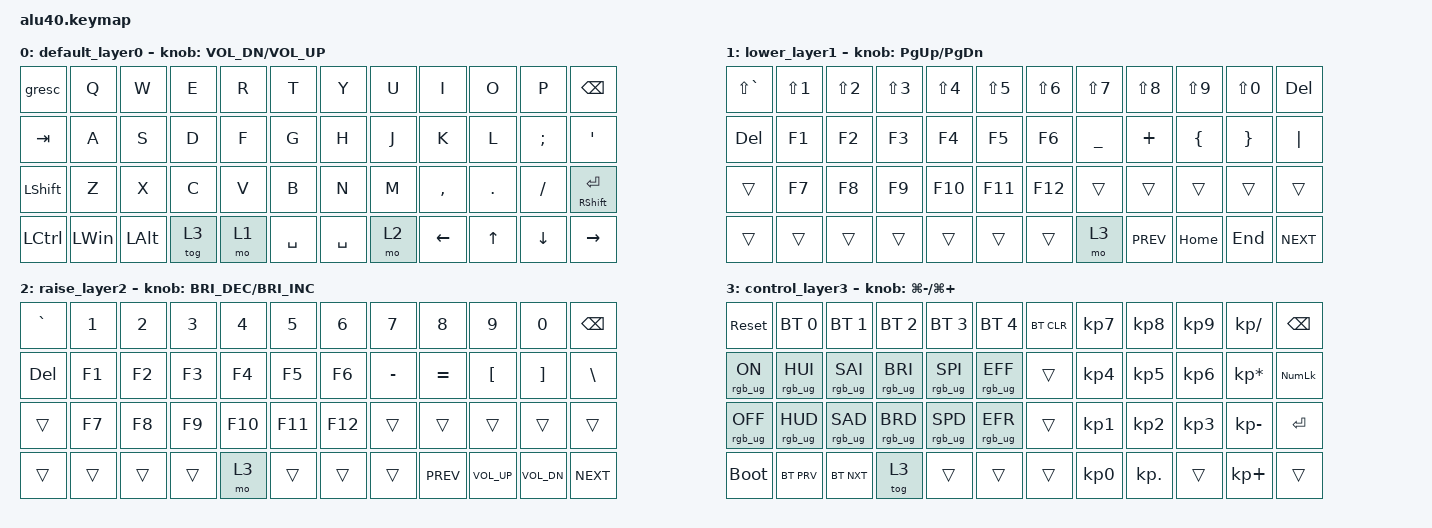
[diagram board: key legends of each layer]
/*
 * Copyright (c) 2022 The ZMK Contributors
 *
 * SPDX-License-Identifier: MIT
 */

#include <behaviors.dtsi>
#include <dt-bindings/zmk/bt.h>
#include <dt-bindings/zmk/keys.h>
#include <dt-bindings/zmk/rgb.h>

/ {
    keymap {
        compatible = "zmk,keymap";

        default_layer0 {
            // -----------------------------------------------------------------------------------------
            // | ESC/~ |  Q   |  W   |  E   |  R   |  T   |   Y   |  U    |  I   |  O   |   P   | BSPC  |
            // | TAB   |  A   |  S   |  D   |  F   |  G   |   H   |  J    |  K   |  L   |   ;   |  '    |
            // | SHIFT |  Z   |  X   |  C   |  V   |  B   |   N   |  M    |  ,   |  .   |   /   |RET/SFT|
            // | PLAY  | LCTL | LALT | LGUI | LOWR |     SPACE    |  RAIS | LARW | UARW | DARW  |  RARW |

            bindings = <
&gresc     &kp Q         &kp W     &kp E   &kp R  &kp T      &kp Y      &kp U  &kp I      &kp O    &kp P     &kp BSPC
&kp TAB    &kp A         &kp S     &kp D   &kp F  &kp G      &kp H      &kp J  &kp K      &kp L    &kp SEMI  &kp SQT
&kp LSHFT  &kp Z         &kp X     &kp C   &kp V  &kp B      &kp N      &kp M  &kp COMMA  &kp DOT  &kp FSLH  &mt RSHFT RET
&kp LCTRL  &kp LEFT_WIN  &kp LALT  &tog 3  &mo 1  &kp SPACE  &kp SPACE  &mo 2  &kp LEFT   &kp UP   &kp DOWN  &kp RIGHT
            >;

            sensor-bindings = <&inc_dec_kp C_VOL_DN C_VOL_UP>;
        };

        lower_layer1 {
            bindings = <
&kp LS(GRAVE)  &kp LS(N1)  &kp LS(N2)  &kp LS(N3)  &kp LS(N4)  &kp LS(N5)  &kp LS(N6)  &kp LS(N7)  &kp LS(N8)  &kp LS(N9)  &kp LS(N0)  &kp DEL
&kp DEL        &kp F1      &kp F2      &kp F3      &kp F4      &kp F5      &kp F6      &kp UNDER   &kp PLUS    &kp LBRC    &kp RBRC    &kp PIPE
&trans         &kp F7      &kp F8      &kp F9      &kp F10     &kp F11     &kp F12     &trans      &trans      &trans      &trans      &trans
&trans         &trans      &trans      &trans      &trans      &trans      &trans      &mo 3       &kp C_PREV  &kp HOME    &kp END     &kp C_NEXT
            >;

            sensor-bindings = <&inc_dec_kp PG_UP PG_DN>;
        };

        raise_layer2 {
            bindings = <
&kp GRAVE  &kp N1  &kp N2  &kp N3  &kp N4   &kp N5   &kp N6   &kp N7     &kp N8      &kp N9        &kp N0        &kp BSPC
&kp DEL    &kp F1  &kp F2  &kp F3  &kp F4   &kp F5   &kp F6   &kp MINUS  &kp EQUAL   &kp LBKT      &kp RBKT      &kp BSLH
&trans     &kp F7  &kp F8  &kp F9  &kp F10  &kp F11  &kp F12  &trans     &trans      &trans        &trans        &trans
&trans     &trans  &trans  &trans  &mo 3    &trans   &trans   &trans     &kp C_PREV  &kp C_VOL_UP  &kp C_VOL_DN  &kp C_NEXT
            >;

            sensor-bindings = <&inc_dec_kp C_BRI_DEC C_BRI_INC>;
        };

        control_layer3 {
            bindings = <
&sys_reset       &bt BT_SEL 0     &bt BT_SEL 1     &bt BT_SEL 2     &bt BT_SEL 3     &bt BT_SEL 4     &bt BT_CLR  &kp KP_NUMBER_7  &kp KP_NUMBER_8  &kp KP_NUMBER_9  &kp KP_DIVIDE    &kp BACKSPACE
&rgb_ug RGB_ON   &rgb_ug RGB_HUI  &rgb_ug RGB_SAI  &rgb_ug RGB_BRI  &rgb_ug RGB_SPI  &rgb_ug RGB_EFF  &trans      &kp KP_NUMBER_4  &kp KP_NUMBER_5  &kp KP_NUMBER_6  &kp KP_MULTIPLY  &kp KP_NUMLOCK
&rgb_ug RGB_OFF  &rgb_ug RGB_HUD  &rgb_ug RGB_SAD  &rgb_ug RGB_BRD  &rgb_ug RGB_SPD  &rgb_ug RGB_EFR  &trans      &kp KP_NUMBER_1  &kp KP_NUMBER_2  &kp KP_NUMBER_3  &kp KP_SUBTRACT  &kp ENTER
&bootloader      &bt BT_PRV       &bt BT_NXT       &tog 3           &trans           &trans           &trans      &kp KP_NUMBER_0  &kp KP_DOT       &trans           &kp KP_PLUS      &trans
            >;

            sensor-bindings = <&inc_dec_kp LG(MINUS) LG(PLUS)>;
        };

        extra1 { status = "reserved"; };

        extra2 { status = "reserved"; };

        extra3 { status = "reserved"; };

        extra4 { status = "reserved"; };
    };
};
